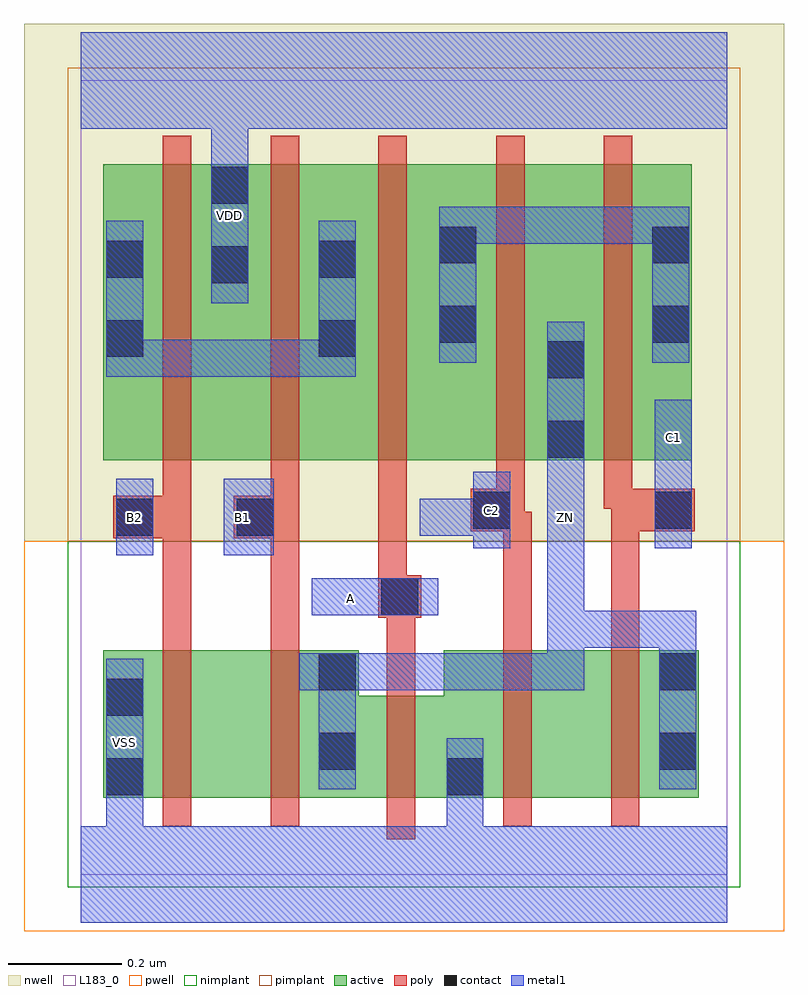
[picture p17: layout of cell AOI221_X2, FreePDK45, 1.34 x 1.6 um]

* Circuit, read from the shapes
.subckt AOI221_X2 A B1 B2 C1 C2 VDD VSS ZN
M1 n1 B2 VSS VSUBS nfet w=0.26u l=0.05u
M2 ZN B1 n1 VSUBS nfet w=0.26u l=0.05u
M3 VSS A ZN VSUBS nfet w=0.18u l=0.05u
M4 n2 C2 VSS VSUBS nfet w=0.26u l=0.05u
M5 ZN C1 n2 VSUBS nfet w=0.26u l=0.05u
M6 VDD B2 n3 n4 pfet w=0.5225u l=0.05u
M7 n3 B1 VDD n4 pfet w=0.5225u l=0.05u
M8 n5 A n3 n4 pfet w=0.5225u l=0.05u
M9 ZN C2 n5 n4 pfet w=0.5225u l=0.05u
M10 n5 C1 ZN n4 pfet w=0.5225u l=0.05u
.ends

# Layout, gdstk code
import gdstk
lib = gdstk.Library(unit=1e-6, precision=1e-10)
def R(c, l, rs):  # rectangles x0, y0, x1, y1
    for r in rs: c.add(gdstk.rectangle(r[:2], r[2:], *l))
def P(c, l, *ps):  # polygons
    for p in ps: c.add(gdstk.Polygon(p, *l))
active = (1, 0)
pwell = (2, 0)
nwell = (3, 0)
nimplant = (4, 0)
pimplant = (5, 0)
poly = (9, 0)
contact = (10, 0)
metal1 = (11, 0)
L183_0 = (183, 0)

aoi221_x2 = lib.new_cell('AOI221_X2')
R(aoi221_x2, active, [(0.04,0.73,1.0775,1.2525)])
P(aoi221_x2, active, [(0.04,0.135),(1.09,0.135),(1.09,0.395),(0.64,0.395),(0.64,0.315),(0.49,0.315),(0.49,0.395),(0.04,0.395)])
R(aoi221_x2, pwell, [(-0.1,-0.1,1.24,0.5875)])
R(aoi221_x2, nwell, [(-0.1,0.5875,1.24,1.5)])
R(aoi221_x2, nimplant, [(-0.0225,-0.0225,1.1625,0.5875)])
R(aoi221_x2, pimplant, [(-0.0225,0.5875,1.1625,1.4225)])
P(aoi221_x2, poly, [(0.0575,0.5925),(0.145,0.5925),(0.145,0.085),(0.195,0.085),(0.195,1.3025),(0.145,1.3025),(0.145,0.6675),(0.0575,0.6675)],
  [(0.27,0.5925),(0.335,0.5925),(0.335,0.085),(0.385,0.085),(0.385,1.3025),(0.335,1.3025),(0.335,0.6675),(0.27,0.6675)],
  [(0.525,0.4525),(0.54,0.4525),(0.54,0.435),(0.54,0.0625),(0.59,0.0625),(0.59,0.435),(0.59,0.4525),(0.6,0.4525),(0.6,0.5275),(0.575,0.5275),(0.575,0.5625),(0.575,1.3025),(0.525,1.3025),(0.525,0.5625)],
  [(0.6875,0.605),(0.745,0.605),(0.745,0.085),(0.795,0.085),(0.795,0.64),(0.7825,0.64),(0.7825,1.3025),(0.7325,1.3025),(0.7325,0.68),(0.6875,0.68)],
  [(0.9225,0.645),(0.935,0.645),(0.935,0.085),(0.985,0.085),(0.985,0.605),(1.0825,0.605),(1.0825,0.68),(0.9725,0.68),(0.9725,1.3025),(0.9225,1.3025)])
R(aoi221_x2, contact, [(0.045,0.14,0.11,0.205), (0.645,0.14,0.71,0.205), (0.42,0.185,0.485,0.25), (1.02,0.185,1.085,0.25), (0.045,0.28,0.11,0.345), (0.42,0.325,0.485,0.39), (1.02,0.325,1.085,0.39), (0.53,0.4575,0.595,0.5225), (0.0625,0.5975,0.1275,0.6625), (0.275,0.5975,0.34,0.6625), (0.6925,0.61,0.7575,0.675), (1.0125,0.61,1.0775,0.675), (0.8225,0.735,0.8875,0.8), (0.8225,0.875,0.8875,0.94), (0.045,0.9125,0.11,0.9775), (0.42,0.9125,0.485,0.9775), (0.6325,0.9375,0.6975,1.0025), (1.0075,0.9375,1.0725,1.0025), (0.23,1.0425,0.295,1.1075), (0.045,1.0525,0.11,1.1175), (0.42,1.0525,0.485,1.1175), (0.6325,1.0775,0.6975,1.1425), (1.0075,1.0775,1.0725,1.1425), (0.23,1.1825,0.295,1.2475)])
R(aoi221_x2, metal1, [(0.0625,0.5625,0.1275,0.6975), (0.2525,0.5625,0.34,0.6975), (1.0125,0.575,1.0775,0.8375)])
P(aoi221_x2, metal1, [(0.045,0.8775),(0.485,0.8775),(0.485,1.1525),(0.42,1.1525),(0.42,0.9425),(0.11,0.9425),(0.11,1.1525),(0.045,1.1525)],
  [(0.4075,0.4575),(0.53,0.4575),(0.63,0.4575),(0.63,0.5225),(0.53,0.5225),(0.4075,0.5225)],
  [(0.5975,0.5975),(0.6925,0.5975),(0.6925,0.575),(0.7575,0.575),(0.7575,0.71),(0.6925,0.71),(0.6925,0.6625),(0.5975,0.6625)],
  [(0.6325,0.9025),(0.6975,0.9025),(0.6975,1.1125),(1.0075,1.1125),(1.0075,0.9025),(1.0725,0.9025),(1.0725,1.1775),(0.6325,1.1775)],
  [(0.385,0.325),(0.42,0.325),(0.42,0.15),(0.485,0.15),(0.485,0.325),(0.8875,0.325),(0.8875,0.39),(0.8875,0.4),(1.02,0.4),(1.02,0.15),(1.085,0.15),(1.085,0.465),(0.8875,0.465),(0.8875,0.975),(0.8225,0.975),(0.8225,0.39),(0.485,0.39),(0.42,0.39),(0.385,0.39)],
  [(0,-0.085),(1.14,-0.085),(1.14,0.085),(0.71,0.085),(0.71,0.24),(0.645,0.24),(0.645,0.085),(0.11,0.085),(0.11,0.38),(0.045,0.38),(0.045,0.085),(0,0.085)],
  [(0,1.315),(0.23,1.315),(0.23,1.0075),(0.295,1.0075),(0.295,1.315),(1.14,1.315),(1.14,1.485),(0,1.485)])
R(aoi221_x2, L183_0, [(0,0,1.14,1.4)])
aoi221_x2.add(gdstk.Label('A', (0.475,0.4875), layer=11, texttype=0))
aoi221_x2.add(gdstk.Label('B1', (0.285,0.63), layer=11, texttype=0))
aoi221_x2.add(gdstk.Label('B2', (0.095,0.63), layer=11, texttype=0))
aoi221_x2.add(gdstk.Label('C1', (1.045,0.77), layer=11, texttype=0))
aoi221_x2.add(gdstk.Label('C2', (0.725,0.6425), layer=11, texttype=0))
aoi221_x2.add(gdstk.Label('VDD', (0.2625,1.1612), layer=11, texttype=0))
aoi221_x2.add(gdstk.Label('VSS', (0.0775,0.2325), layer=11, texttype=0))
aoi221_x2.add(gdstk.Label('ZN', (0.855,0.63), layer=11, texttype=0))

lib.write_gds('AOI221_X2.gds')
